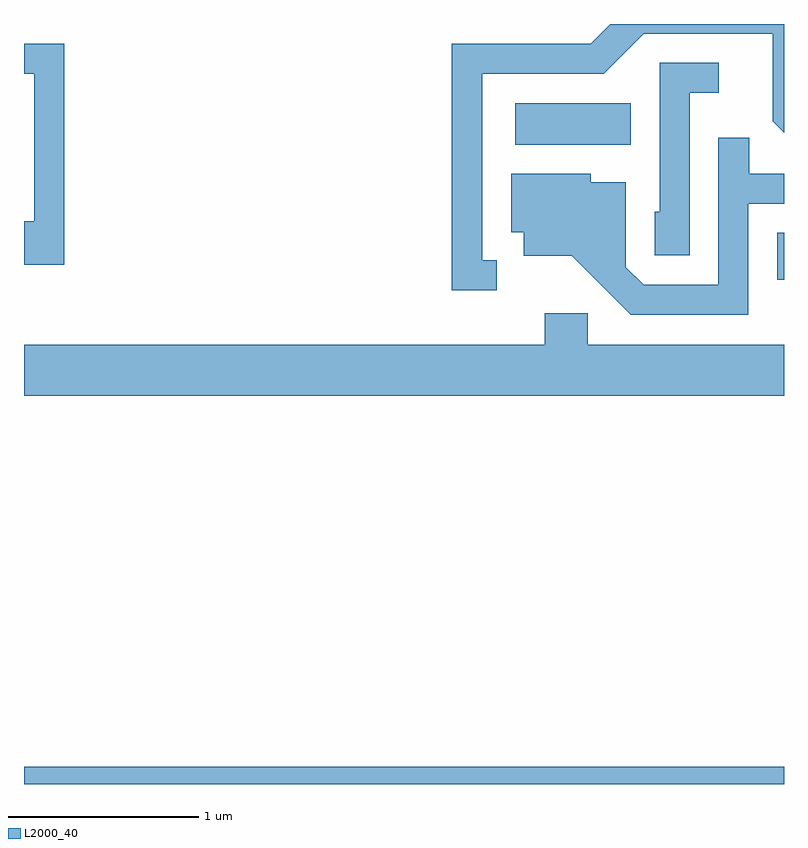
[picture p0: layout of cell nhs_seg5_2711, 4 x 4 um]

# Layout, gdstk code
import gdstk
lib = gdstk.Library(unit=1e-6, precision=1e-09)
def R(c, l, rs):  # rectangles x0, y0, x1, y1
    for r in rs: c.add(gdstk.rectangle(r[:2], r[2:], *l))
def P(c, l, *ps):  # polygons
    for p in ps: c.add(gdstk.Polygon(p, *l))
L2000_40 = (2000, 40)

nhs_seg5_2711 = lib.new_cell('nhs_seg5_2711')
R(nhs_seg5_2711, L2000_40, [(265.611,1468.072,269.611,1468.164), (269.576,1470.726,269.611,1470.974), (268.196,1471.436,268.804,1471.654)])
P(nhs_seg5_2711, L2000_40, [(268.098,1470.829),(268.024,1470.829),(268.024,1471.811),(268.662,1471.811),(268.872,1472.021),(269.551,1472.021),(269.551,1471.559),(269.611,1471.499),(269.611,1472.072),(268.697,1472.072),(268.594,1471.969),(267.861,1471.969),(267.861,1470.671),(268.098,1470.671)],
  [(265.824,1471.969),(265.611,1471.969),(265.611,1471.811),(265.666,1471.811),(265.666,1471.034),(265.611,1471.034),(265.611,1470.806),(265.824,1470.806)],
  [(269.114,1471.711),(269.268,1471.711),(269.268,1471.869),(268.956,1471.869),(268.956,1471.084),(268.931,1471.084),(268.931,1470.856),(269.114,1470.856)],
  [(269.424,1471.126),(269.611,1471.126),(269.611,1471.284),(269.429,1471.284),(269.429,1471.473),(269.266,1471.473),(269.266,1470.699),(268.872,1470.699),(268.779,1470.792),(268.779,1471.239),(268.594,1471.239),(268.594,1471.284),(268.176,1471.284),(268.176,1470.976),(268.241,1470.976),(268.241,1470.851),(268.494,1470.851),(268.804,1470.541),(269.424,1470.541)],
  [(269.611,1470.384),(268.579,1470.384),(268.579,1470.549),(268.351,1470.549),(268.351,1470.384),(265.611,1470.384),(265.611,1470.116),(269.611,1470.116)])

lib.write_gds('nhs_seg5_2711.gds')
